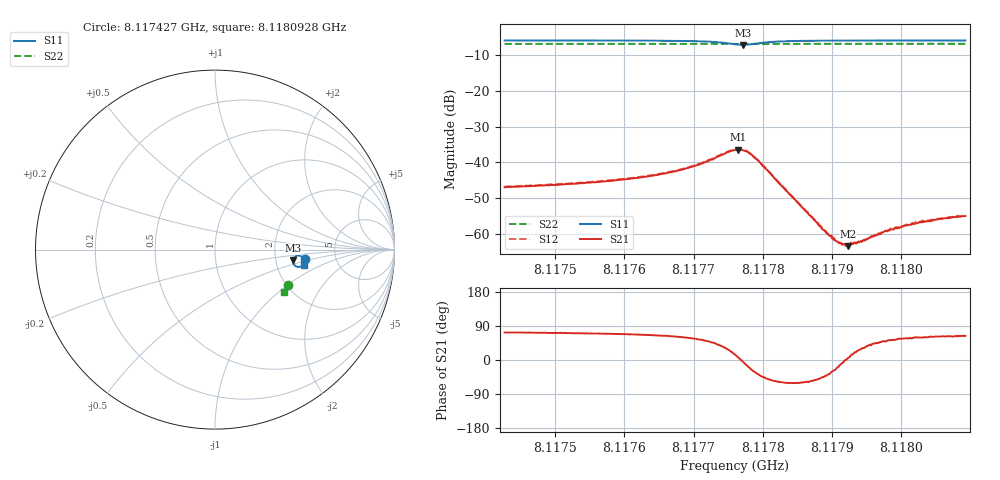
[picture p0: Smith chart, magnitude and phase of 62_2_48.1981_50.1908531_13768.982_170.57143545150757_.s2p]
#  HZ  S  RI  R  50.00
! Rohde & Schwarz Vector Network Analyzer
! Rohde-Schwarz,ZNB20-2Port,1311601062101988,3.16
! Created: UTC 3/20/2024, 11:38:49 AM
! freq[Hz]  re:S11  im:S11  re:S21  im:S21  re:S12  im:S12  re:S22  im:S22
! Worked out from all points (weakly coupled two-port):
!   401 points, 8.117427 GHz to 8.1180928 GHz, reference 50 ohm
!   highest |S21| = -36.45 dB at 8.1177649 GHz (marker M1); lowest = -63.4 dB at 8.1179231 GHz (marker M2)
!   lowest |S11| = -7.2 dB at 8.1177716 GHz (marker M3), VSWR 2.56, Z = 125 - j18.6 ohm
!   |S11| at or under -10 dB: nowhere
!   |S22| runs from -6.9 to -6.9 dB; largest |S21 - S12| = 0.00049
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8.11742702e9  0.5026 -0.0515  0.00134 0.00428  0.00142 0.00438  0.4066 -0.1973
8.11753855e9  0.5005 -0.0625  0.00174 0.00479  0.0018 0.00488  0.4033 -0.2046
8.11759847e9  0.4985 -0.0697  0.00213 0.00535  0.00225 0.00542  0.4016 -0.2084
8.11765007e9  0.4953 -0.0775  0.00289 0.00608  0.00303 0.00619  0.3998 -0.2118
8.11768003e9  0.4913 -0.0836  0.0038 0.00679  0.00394 0.00688  0.3988 -0.2139
8.11770666e9  0.4845 -0.0903  0.0054 0.00744  0.00553 0.00765  0.3976 -0.2156
8.11775993e9  0.4391 -0.0821  0.0144 0.00367  0.0147 0.00353  0.3941 -0.218
8.11776492e9  0.4352 -0.0736  0.015 0.00165  0.0152 0.00146  0.3939 -0.2178
8.11777158e9  0.4341 -0.0603  0.0147 -0.00134  0.015 -0.00169  0.3938 -0.2176
8.11778157e9  0.4428 -0.0429  0.0122 -0.00484  0.0124 -0.00515  0.3941 -0.2176
8.11779488e9  0.4622 -0.0337  0.00795 -0.00653  0.00775 -0.00669  0.3946 -0.2182
8.11782484e9  0.4875 -0.0424  0.0026 -0.00421  0.00261 -0.00429  0.3946 -0.2206
8.11787145e9  0.4968 -0.0577  0.000965 -0.00138  0.000985 -0.00141  0.3935 -0.2241
8.11789309e9  0.4979 -0.0625  0.000785 -0.000644  0.000791 -0.000659  0.3928 -0.2256
8.11790807e9  0.4984 -0.0654  0.000736 -0.000258  0.000731 -0.000259  0.3925 -0.2267
8.11791306e9  0.4984 -0.0664  0.000717 -0.000141  0.000728 -0.000167  0.3922 -0.227
8.11792305e9  0.4986 -0.0681  0.00067 6.1e-05  0.000708 7.81e-05  0.3919 -0.2275
8.11794469e9  0.4987 -0.0712  0.000688 0.000422  0.000678 0.00041  0.3912 -0.229
8.11795967e9  0.4986 -0.0733  0.000673 0.000634  0.000714 0.000595  0.3907 -0.2301
8.11798297e9  0.4985 -0.0762  0.000678 0.000885  0.000733 0.000866  0.3899 -0.2315
8.11802792e9  0.498 -0.0812  0.000748 0.00127  0.000772 0.00127  0.3884 -0.2344
8.11809283e9  0.4972 -0.0876  0.000795 0.00159  0.000832 0.0016  0.3861 -0.2383
